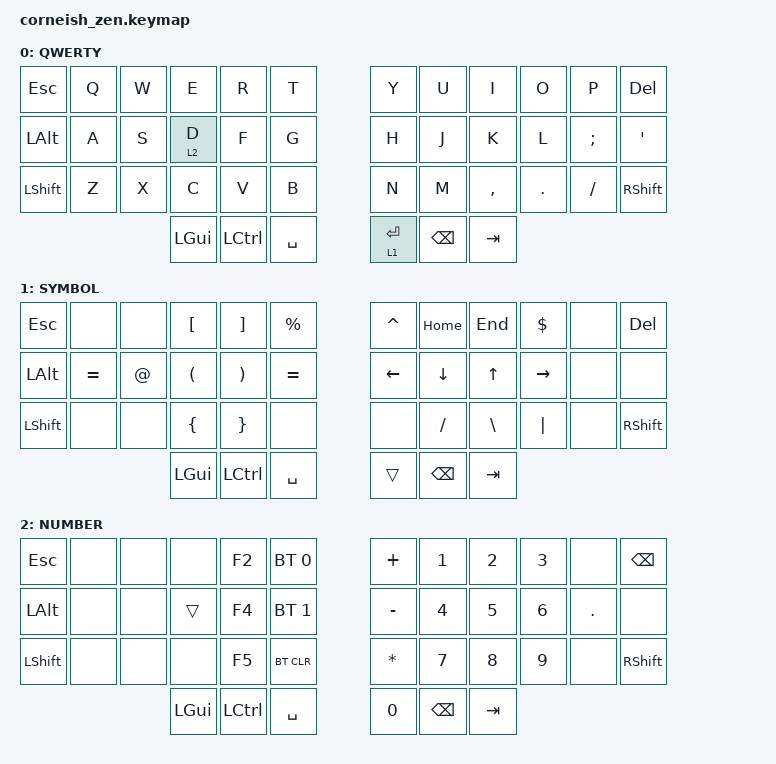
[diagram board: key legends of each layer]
#include <behaviors.dtsi>
#include <dt-bindings/zmk/keys.h>
#include <dt-bindings/zmk/bt.h>

/ {
  chosen {
    zmk,matrix_transform = &default_transform;
    //zmk,matrix_transform = &five_column_transform;
  };
};

/ {
      keymap {
                compatible = "zmk,keymap";

                default_layer {
                        label = "QWERTY";
// -----------------------------------------------------------------------------------------
// | ESC |  Q  |  W  |  E  |  R  |  T  |   |  Y  |  U  |  I  |  O  |  P  | DEL |
// | ALT |  A  |  S  |  D  |  F  |  G  |   |  H  |  J  |  K  |  L  |  ;  |  '  |
// | SHF |  Z  |  X  |  C  |  V  |  B  |   |  N  |  M  |  ,  |  .  |  /  | SHF |
//                   | GUI | CTL | SPC |   | ENT | BKS | TAB |
                        bindings = <
   &kp ESC   &kp Q &kp W &kp E &kp R   &kp T   &kp Y &kp U  &kp I     &kp O   &kp P    &kp DEL
   &kp LALT  &kp A &kp S &lt 2 D &kp F &kp G   &kp H &kp J  &kp K     &kp L   &kp SEMI &kp SQT
   &kp LSHFT &kp Z &kp X &kp C &kp V   &kp B   &kp N &kp M  &kp COMMA &kp DOT &kp FSLH &kp RSHFT
                &kp LGUI &kp LCTRL &kp SPACE   &lt 1 RET &kp BSPC &kp TAB
                        >;
                };
                lower_layer {
                        label = "SYMBOL";
// -----------------------------------------------------------------------------------------
// | ESC |     |     |     |     |     |    |     |     |     |     |     | DEL |
// | ALT |     |     |     |     |     |    |     |     |     |     |     |     |
// | SHF |     |     |     |     |     |    |     |     |     |     |     | SHF |
//                   | GUI | CTL | SPC |    | ENT | BKS | TAB |
                        bindings = <
   &kp ESC   &none     &none  &kp LBKT &kp RBKT  &kp PRCNT   &kp CARET &kp HOME &kp END  &kp DLLR  &none &kp DEL
   &kp LALT  &kp EQUAL &kp AT &kp LPAR &kp RPAR  &kp EQUAL   &kp LEFT  &kp DOWN &kp UP   &kp RIGHT &none &none
   &kp LSHFT &none     &none  &kp LBRC &kp RBRC  &none       &none     &kp FSLH &kp BSLH &kp PIPE  &none &kp RSHFT
                              &kp LGUI &kp LCTRL &kp SPACE   &trans &kp BSPC &kp TAB
                        >;
                };

                raise_layer {
                        label = "NUMBER";
// -----------------------------------------------------------------------------------------
// | ESC |     |     |     |     |     |    |     |     |     |     |     | DEL |
// | ALT |     |     |     |     |     |    |     |     |     |     |     |     |
// | SHF |     |     |     |     |     |    |     |     |     |     |     | SHF |
//                   | GUI | CTL | SPC |    | ENT | BKS | TAB |
                        bindings = <
   &kp ESC   &none &none &none  &kp F2 &bt BT_SEL 0   &kp PLUS  &kp N1 &kp N2 &kp N3 &none &kp BSPC
   &kp LALT  &none &none &trans &kp F4 &bt BT_SEL 1   &kp MINUS &kp N4 &kp N5 &kp N6 &kp DOT &none
   &kp LSHFT &none &none &none  &kp F5 &bt BT_CLR     &kp STAR  &kp N7 &kp N8 &kp N9 &none &kp RSHFT
                       &kp LGUI &kp LCTRL &kp SPACE   &kp N0 &kp BSPC &kp TAB
                        >;
                };
        }; 
};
